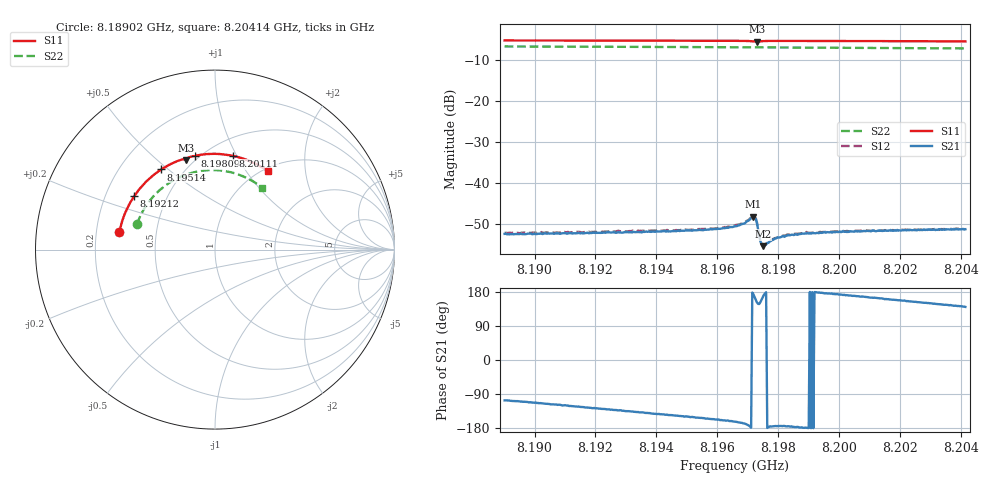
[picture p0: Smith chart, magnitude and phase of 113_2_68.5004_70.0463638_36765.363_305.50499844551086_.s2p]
#  HZ  S  RI  R  50.00
! Rohde & Schwarz Vector Network Analyzer
! Rohde-Schwarz,ZNB20-2Port,1311601062101988,3.16
! Created: UTC 3/20/2024, 5:08:47 PM
! freq[Hz]  re:S11  im:S11  re:S21  im:S21  re:S12  im:S12  re:S22  im:S22
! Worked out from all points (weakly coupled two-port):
!   401 points, 8.18902 GHz to 8.20414 GHz, reference 50 ohm
!   highest |S21| = -48.21 dB at 8.19718 GHz (marker M1); lowest = -55.4 dB at 8.19749 GHz (marker M2)
!   lowest |S11| = -5.6 dB at 8.1973 GHz (marker M3), VSWR 3.19, Z = 22.8 + j31.2 ohm
!   |S11| at or under -10 dB: nowhere
!   |S22| runs from -7.3 to -6.8 dB; largest |S21 - S12| = 0.00021
!   S11 on the Smith chart (normalised r, x): 8.18902 GHz: 0.30, +0.08; 8.19212 GHz: 0.32, +0.27; 8.19514 GHz: 0.38, +0.47; 8.19809 GHz: 0.47, +0.69; 8.20111 GHz: 0.66, +0.97; 8.20414 GHz: 1.05, +1.27
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8.189017e9  -0.5323 0.0977  -0.000686 -0.0023  -0.000695 -0.00237  -0.4351 0.1414
8.19155e9  -0.4713 0.2636  -0.00137 -0.00204  -0.00146 -0.00202  -0.3691 0.2653
8.192117e9  -0.4502 0.2975  -0.00154 -0.00193  -0.00163 -0.00197  -0.3493 0.2899
8.194083e9  -0.3594 0.4012  -0.00203 -0.00157  -0.00215 -0.00156  -0.2679 0.3631
8.195142e9  -0.3 0.4463  -0.0023 -0.0013  -0.00241 -0.00124  -0.2172 0.3938
8.195973e9  -0.2487 0.4758  -0.00253 -0.00108  -0.00262 -0.00102  -0.1746 0.413
8.196578e9  -0.2089 0.4935  -0.00283 -0.000879  -0.00296 -0.000791  -0.1426 0.4241
8.196843e9  -0.1901 0.5  -0.00311 -0.000718  -0.00319 -0.000607  -0.1282 0.4281
8.197183e9  -0.1631 0.5013  -0.00386 0.000471  -0.00388 0.00065  -0.1094 0.4327
8.197259e9  -0.1605 0.498  -0.00341 0.00133  -0.00343 0.00148  -0.1052 0.4333
8.197296e9  -0.1612 0.4974  -0.00288 0.00152  -0.00288 0.00169  -0.1032 0.4336
8.19741e9  -0.1607 0.5034  -0.00174 0.000909  -0.00175 0.00102  -0.0971 0.4349
8.197448e9  -0.1587 0.5058  -0.00167 0.000645  -0.00166 0.000752  -0.095 0.4356
8.197485e9  -0.1562 0.508  -0.00164 0.000439  -0.00168 0.000516  -0.0931 0.4359
8.197561e9  -0.1507 0.5113  -0.00175 0.000143  -0.00176 0.000214  -0.0887 0.4367
8.197863e9  -0.1283 0.5192  -0.00207 -0.000189  -0.00211 -0.000144  -0.0717 0.4394
8.19809e9  -0.1119 0.523  -0.00219 -0.000229  -0.00223 -0.000149  -0.0591 0.4408
8.198355e9  -0.0931 0.5266  -0.0023 -0.000207  -0.00235 -7.53e-05  -0.0441 0.4421
8.199111e9  -0.0395 0.5326  -0.00245 4.17e-05  -0.00249 0.000112  -0.00107 0.443
8.201115e9  0.1017 0.5219  -0.00253 0.000723  -0.00252 0.000812  0.1113 0.4248
8.201644e9  0.1377 0.5129  -0.0025 0.000915  -0.00246 0.00101  0.14 0.4153
8.204139e9  0.2962 0.4365  -0.0021 0.00176  -0.00204 0.00185  0.2639 0.3432
